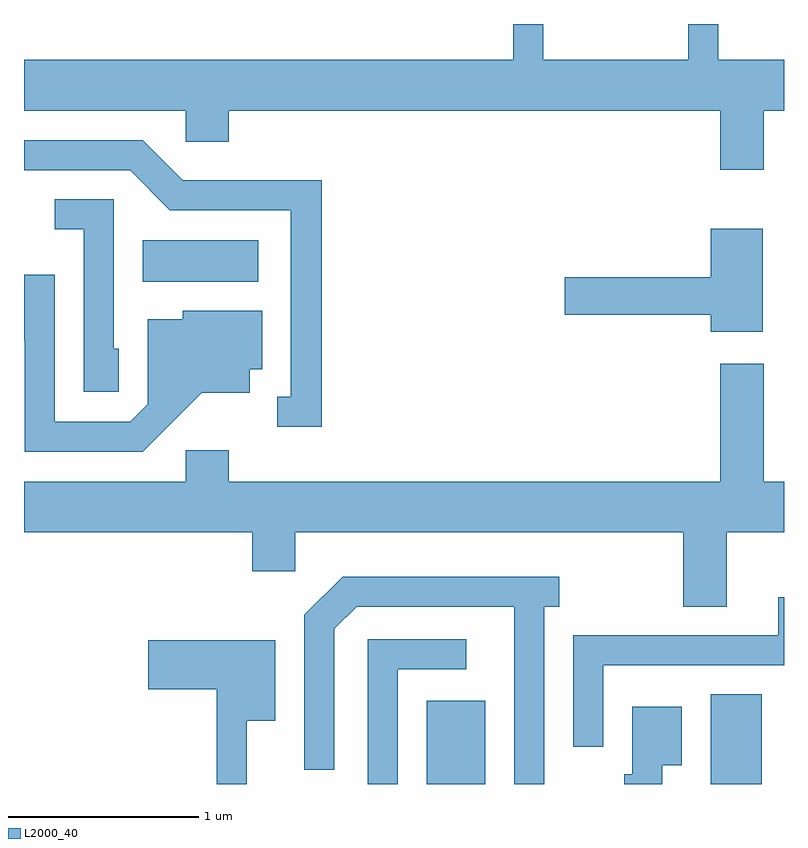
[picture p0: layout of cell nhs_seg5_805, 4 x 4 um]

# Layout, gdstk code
import gdstk
lib = gdstk.Library(unit=1e-6, precision=1e-09)
def R(c, l, rs):  # rectangles x0, y0, x1, y1
    for r in rs: c.add(gdstk.rectangle(r[:2], r[2:], *l))
def P(c, l, *ps):  # polygons
    for p in ps: c.add(gdstk.Polygon(p, *l))
L2000_40 = (2000, 40)

nhs_seg5_805 = lib.new_cell('nhs_seg5_805')
R(nhs_seg5_805, L2000_40, [(209.731,1522.072,210.039,1522.509), (211.226,1522.072,211.494,1522.544), (208.236,1524.716,208.844,1524.934), (211.586,1526.071,211.611,1526.072)])
P(nhs_seg5_805, L2000_40, [(211.504,1525.616),(211.611,1525.616),(211.611,1525.884),(211.264,1525.884),(211.264,1526.072),(211.106,1526.072),(211.106,1525.884),(210.344,1525.884),(210.344,1526.072),(210.186,1526.072),(210.186,1525.884),(207.611,1525.884),(207.611,1525.616),(208.461,1525.616),(208.461,1525.451),(208.689,1525.451),(208.689,1525.616),(211.276,1525.616),(211.276,1525.306),(211.504,1525.306)],
  [(209.179,1525.249),(208.447,1525.249),(208.237,1525.459),(207.611,1525.459),(207.611,1525.301),(208.169,1525.301),(208.379,1525.091),(209.016,1525.091),(209.016,1524.109),(208.943,1524.109),(208.943,1523.951),(209.179,1523.951)],
  [(208.109,1524.364),(208.084,1524.364),(208.084,1525.149),(207.773,1525.149),(207.773,1524.991),(207.926,1524.991),(207.926,1524.136),(208.109,1524.136)],
  [(211.499,1524.994),(211.226,1524.994),(211.226,1524.739),(210.456,1524.739),(210.456,1524.541),(211.226,1524.541),(211.226,1524.451),(211.499,1524.451)],
  [(208.547,1524.131),(208.799,1524.131),(208.799,1524.256),(208.864,1524.256),(208.864,1524.564),(208.446,1524.564),(208.446,1524.519),(208.261,1524.519),(208.261,1524.072),(208.169,1523.979),(207.774,1523.979),(207.774,1524.753),(207.611,1524.753),(207.611,1524.406),(207.616,1524.406),(207.616,1523.821),(208.237,1523.821)],
  [(211.309,1523.396),(211.611,1523.396),(211.611,1523.664),(211.504,1523.664),(211.504,1524.284),(211.276,1524.284),(211.276,1523.664),(208.689,1523.664),(208.689,1523.829),(208.461,1523.829),(208.461,1523.664),(207.611,1523.664),(207.611,1523.396),(208.811,1523.396),(208.811,1523.191),(209.039,1523.191),(209.039,1523.396),(211.081,1523.396),(211.081,1523.006),(211.309,1523.006)],
  [(210.349,1523.006),(210.428,1523.006),(210.428,1523.164),(209.289,1523.164),(209.086,1522.962),(209.086,1522.148),(209.244,1522.148),(209.244,1522.889),(209.362,1523.006),(210.191,1523.006),(210.191,1522.072),(210.349,1522.072)],
  [(210.659,1522.696),(211.611,1522.696),(211.611,1523.054),(211.581,1523.054),(211.581,1522.854),(210.501,1522.854),(210.501,1522.268),(210.659,1522.268)],
  [(209.579,1522.676),(209.938,1522.676),(209.938,1522.834),(209.421,1522.834),(209.421,1522.072),(209.579,1522.072)],
  [(208.784,1522.406),(208.934,1522.406),(208.934,1522.829),(208.266,1522.829),(208.266,1522.571),(208.626,1522.571),(208.626,1522.072),(208.784,1522.072)],
  [(210.969,1522.171),(211.074,1522.171),(211.074,1522.479),(210.811,1522.479),(210.811,1522.124),(210.771,1522.124),(210.771,1522.072),(210.969,1522.072)])

lib.write_gds('nhs_seg5_805.gds')
